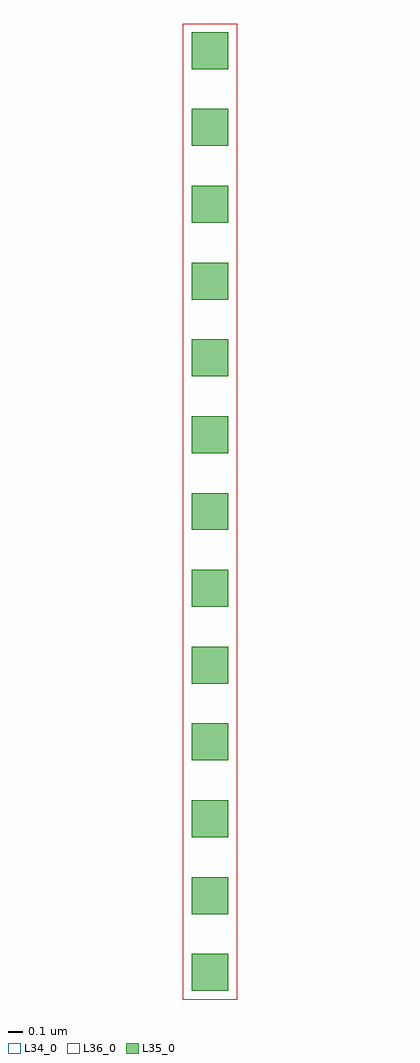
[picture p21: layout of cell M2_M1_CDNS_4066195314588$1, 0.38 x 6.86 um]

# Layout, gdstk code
import gdstk
lib = gdstk.Library(unit=1e-6, precision=1e-09)
def R(c, l, rs):  # rectangles x0, y0, x1, y1
    for r in rs: c.add(gdstk.rectangle(r[:2], r[2:], *l))
def A(c, l, x, y, w, h, nx, ny, dx, dy):  # array of equal rectangles
    R(c, l, [(x+i*dx, y+j*dy, x+i*dx+w, y+j*dy+h) for i in range(nx) for j in range(ny)])
L34_0 = (34, 0)
L35_0 = (35, 0)
L36_0 = (36, 0)

m2_m1_cdns_4066195314588 = lib.new_cell('M2_M1_CDNS_4066195314588$1')
R(m2_m1_cdns_4066195314588, L34_0, [(-0.19,-3.43,0.19,3.43)])
A(m2_m1_cdns_4066195314588, L35_0, -0.13, -3.37, 0.26, 0.26, 1, 13, 0, 0.54)
R(m2_m1_cdns_4066195314588, L36_0, [(-0.19,-3.43,0.19,3.43)])

lib.write_gds('M2_M1_CDNS_4066195314588_1.gds')
